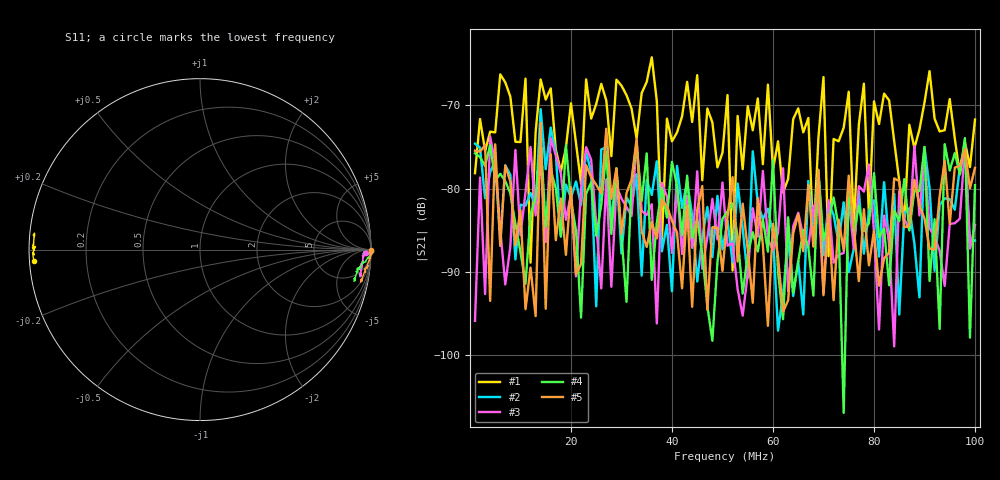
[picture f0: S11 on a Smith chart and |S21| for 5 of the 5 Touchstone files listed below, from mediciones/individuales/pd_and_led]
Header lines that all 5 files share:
# HZ S RI R 50
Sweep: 1 MHz to 100 MHz
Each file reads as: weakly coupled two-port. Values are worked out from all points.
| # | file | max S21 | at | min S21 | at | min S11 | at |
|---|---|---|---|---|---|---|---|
| 1 | led_rojo.s2p | -64.25 dB | 36 MHz | -89.8 dB | 52 MHz | -0.3 dB | 5 MHz |
| 2 | PDB-C154SM_5v.s2p | -70.48 dB | 14 MHz | -97.1 dB | 61 MHz | -0.5 dB | 86 MHz |
| 3 | PDB-C154SM_10v.s2p | -73.77 dB | 4 MHz | -98.9 dB | 84 MHz | -0.5 dB | 78 MHz |
| 4 | sfh203_5v.s2p | -73.93 dB | 14 MHz | -106.9 dB | 74 MHz | -0.8 dB | 86 MHz |
| 5 | sfh203_10v.s2p | -72.12 dB | 14 MHz | -96.5 dB | 59 MHz | -0.4 dB | 86 MHz |
